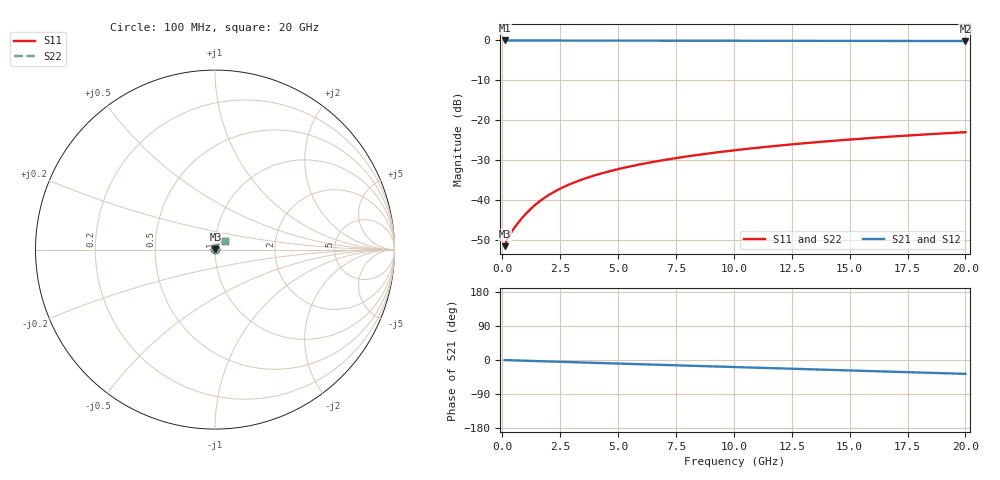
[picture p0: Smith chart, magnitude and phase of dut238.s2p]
! Touchstone file exported from HFSS 2026.1.0
!  File:  C:/ffzhzh/LocalFiles/Ansys_Project_Files/temp_train_TMRDL_238_1782984617_40604.aedt
!  Generated:  05:31:25 PM Jul  2, 2026
!  Design:  TMRDL
!  Project:  temp_train_TMRDL_238_1782984617_40604
! Variables:
!  h_bsmrdl = 2um
!  h_ox = 20um
!  h_rdl = 5um
!  h_sub = 80um
!  h_tmrdl = 5.11um
!  h_tsv = 80um
!  h_via = 3um
!  l_bsmrdl = 300um
!  l_sub = 1054.56um
!  l_tmrdl = 654.56um
!  m_sub = 200um
!  pitch = 27.3um
!  r_tsv = 6um
!  s_tmrdl = 10um
!  w_bsmrdl = 18um
!  w_sub = 500um
!  w_tmrdl = 20.75um
!  x_tsv_center1 = 664.935um
!  x_tsv_center2 = 982.935um
!  x_tsv_center3 = 1658.245um
!  x_tsv_center4 = 1976.245um
!  x_tsv_center5 = 2651.555um
!  x_tsv_center6 = 2969.555um
# GHz S MA R 50.000000
! Terminal data exported
! Port[1] = TM_RDL1_1_T1
! Port[2] = TM_RDL1_1_T2
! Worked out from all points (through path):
!   200 points, 100 MHz to 20 GHz, reference 50 ohm
!   highest |S21| = -0.02 dB at 100 MHz (marker M1); lowest = -0.2 dB at 20 GHz (marker M2)
!   group delay of S21, straight-line fit = 5.06 ps
!   lowest |S11| = -51.6 dB at 100 MHz (marker M3), VSWR 1.01, Z = 50.2 + j0.0946 ohm
!   |S11| at or under -10 dB: start of sweep to end of sweep
!   |S22| runs from -51.6 to -23.0 dB; largest |S21 - S12| = 3.1e-15
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0.1  0.002617 21.1  0.9976 -0.2  0.9976 -0.2  0.002617 21.1
! Gamma 0 0 0 0
! Port Impedance 50 0 50 0
0.2  0.003157 29.2  0.9973 -0.4  0.9973 -0.4  0.003161 29.3
0.3  0.003578 34.5  0.997 -0.6  0.997 -0.6  0.003587 34.5
0.5  0.004358 43.3  0.9966 -1.0  0.9966 -1.0  0.004367 43.2
0.7  0.005204 49.9  0.9965 -1.4  0.9965 -1.4  0.00521 49.8
0.9  0.006116 54.5  0.9963 -1.7  0.9963 -1.7  0.006119 54.4
1.1  0.007068 57.8  0.9962 -2.1  0.9962 -2.1  0.007068 57.7
1.4  0.008527 60.8  0.9959 -2.7  0.9959 -2.7  0.008524 60.8
1.8  0.01047 62.9  0.9956 -3.5  0.9956 -3.5  0.01047 62.9
2.3  0.01285 64.0  0.9951 -4.4  0.9951 -4.4  0.01285 64.0
2.9  0.01559 64.2  0.9945 -5.5  0.9945 -5.5  0.01558 64.2
3.5  0.01819 63.8  0.9938 -6.7  0.9938 -6.7  0.01819 63.9
4.2  0.02108 63.2  0.993 -8.0  0.993 -8.0  0.02108 63.2
5  0.02424 62.2  0.9921 -9.4  0.9921 -9.4  0.02424 62.2
5.9  0.02763 61.1  0.9911 -11.1  0.9911 -11.1  0.02763 61.1
6.8  0.03088 59.9  0.9903 -12.7  0.9903 -12.7  0.03088 59.9
8.3  0.03607 57.9  0.989 -15.5  0.989 -15.5  0.03608 57.9
10.1  0.04202 55.5  0.9876 -18.7  0.9876 -18.7  0.04202 55.5
11.7  0.04709 53.2  0.9864 -21.6  0.9864 -21.6  0.04709 53.2
13.4  0.05228 50.8  0.9853 -24.7  0.9853 -24.7  0.05228 50.8
16.7  0.06179 45.8  0.9832 -30.7  0.9832 -30.7  0.0618 45.9
20  0.07048 40.7  0.9812 -36.6  0.9812 -36.6  0.07049 40.7
